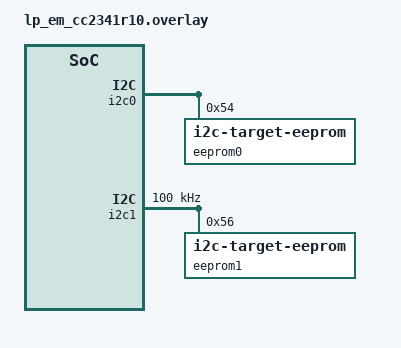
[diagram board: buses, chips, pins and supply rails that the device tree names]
/*
 * Copyright (c) 2026 Texas Instruments Incorporated
 *
 * SPDX-License-Identifier: Apache-2.0
 */

/*
 * I2C0 and I2C1 are shorted together, one acting as controller and the other
 * as target.
 *
 *  Bus    SDA                 SCL
 *  i2c0   DIO0                DIO24
 *  i2c1   DIO19               DIO25
 *
 * Short DIO0 to DIO19 and DIO24 to DIO25 for the test to pass.
 *
 * DIO19 is also the button 2 input, so the button is disabled. DIO0 and
 * DIO18 cannot be used for I2C1 because they are already used by I2C0 SDA
 * and SPI0 SCLK.
 */

&pinctrl {
	i2c1_scl_default: i2c1_scl_default {
		pinmux = <25 DIO25_I2C1_SCL>;
		bias-pull-up;
		drive-open-drain;
		input-enable;
	};

	i2c1_sda_default: i2c1_sda_default {
		pinmux = <19 DIO19_I2C1_SDA>;
		bias-pull-up;
		drive-open-drain;
		input-enable;
	};
};

&btn1 {
	status = "disabled";
};

&i2c0 {
	eeprom0: eeprom@54 {
		compatible = "zephyr,i2c-target-eeprom";
		reg = <0x54>;
		size = <256>;
	};
};

&i2c1 {
	status = "okay";
	pinctrl-0 = <&i2c1_scl_default &i2c1_sda_default>;
	pinctrl-names = "default";
	clock-frequency = <100000>;

	eeprom1: eeprom@56 {
		compatible = "zephyr,i2c-target-eeprom";
		reg = <0x56>;
		size = <256>;
	};
};
